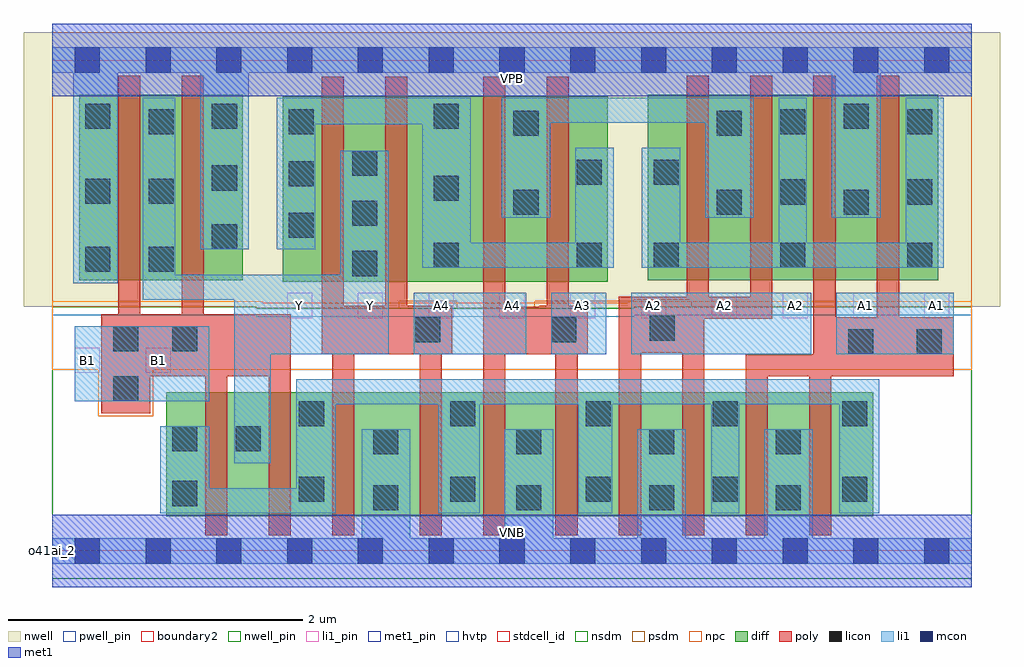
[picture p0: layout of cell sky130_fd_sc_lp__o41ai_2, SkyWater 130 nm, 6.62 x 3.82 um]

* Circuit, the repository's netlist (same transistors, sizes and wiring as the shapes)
* Copyright 2020 The SkyWater PDK Authors
*
* Licensed under the Apache License, Version 2.0 (the "License");
* you may not use this file except in compliance with the License.
* You may obtain a copy of the License at
*
*     https://www.apache.org/licenses/LICENSE-2.0
*
* Unless required by applicable law or agreed to in writing, software
* distributed under the License is distributed on an "AS IS" BASIS,
* WITHOUT WARRANTIES OR CONDITIONS OF ANY KIND, either express or implied.
* See the License for the specific language governing permissions and
* limitations under the License.
*
* SPDX-License-Identifier: Apache-2.0

.SUBCKT sky130_fd_sc_lp__o41ai_2 A1 A2 A3 A4 B1 VGND VNB VPB VPWR Y
*.PININFO A1:I A2:I A3:I A4:I B1:I VGND:I VNB:I VPB:I VPWR:I Y:O
MMPA0 VPWR A1 sndA1 VPB sky130_fd_pr__pfet_01v8_hvt m=2 w=1.26U l=0.15U mult=1
+ sa=0.265 sb=0.265 sd=0.28 area=0.063 perim=1.14
MMPA1 sndA1 A2 sndA2 VPB sky130_fd_pr__pfet_01v8_hvt m=2 w=1.26U l=0.15U mult=1
+ sa=0.265 sb=0.265 sd=0.28 area=0.063 perim=1.14
MMPA2 sndA2 A3 sndA3 VPB sky130_fd_pr__pfet_01v8_hvt m=2 w=1.26U l=0.15U mult=1
+ sa=0.265 sb=0.265 sd=0.28 area=0.063 perim=1.14
MMPA3 sndA3 A4 Y VPB sky130_fd_pr__pfet_01v8_hvt m=2 w=1.26U l=0.15U mult=1 sa=0.265
+ sb=0.265 sd=0.28 area=0.063 perim=1.14
MMPB0 VPWR B1 Y VPB sky130_fd_pr__pfet_01v8_hvt m=2 w=1.26U l=0.15U mult=1 sa=0.265
+ sb=0.265 sd=0.28 area=0.063 perim=1.14
MMNA0 pndA A1 VGND VNB sky130_fd_pr__nfet_01v8 m=2 w=0.84U l=0.15U mult=1 sa=0.265
+ sb=0.265 sd=0.28 area=0.063 perim=1.14
MMNA1 pndA A2 VGND VNB sky130_fd_pr__nfet_01v8 m=2 w=0.84U l=0.15U mult=1 sa=0.265
+ sb=0.265 sd=0.28 area=0.063 perim=1.14
MMNA2 pndA A3 VGND VNB sky130_fd_pr__nfet_01v8 m=2 w=0.84U l=0.15U mult=1 sa=0.265
+ sb=0.265 sd=0.28 area=0.063 perim=1.14
MMNA3 pndA A4 VGND VNB sky130_fd_pr__nfet_01v8 m=2 w=0.84U l=0.15U mult=1 sa=0.265
+ sb=0.265 sd=0.28 area=0.063 perim=1.14
MMNB0 Y B1 pndA VNB sky130_fd_pr__nfet_01v8 m=2 w=0.84U l=0.15U mult=1 sa=0.265
+ sb=0.265 sd=0.28 area=0.063 perim=1.14
.ENDS sky130_fd_sc_lp__o41ai_2

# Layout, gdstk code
import gdstk
lib = gdstk.Library(unit=1e-6, precision=1e-09)
def R(c, l, rs):  # rectangles x0, y0, x1, y1
    for r in rs: c.add(gdstk.rectangle(r[:2], r[2:], *l))
def A(c, l, x, y, w, h, nx, ny, dx, dy):  # array of equal rectangles
    R(c, l, [(x+i*dx, y+j*dy, x+i*dx+w, y+j*dy+h) for i in range(nx) for j in range(ny)])
def P(c, l, *ps):  # polygons
    for p in ps: c.add(gdstk.Polygon(p, *l))
nwell_pin = (64, 16)
nwell = (64, 20)
diff = (65, 20)
poly = (66, 20)
licon = (66, 44)
li1_pin = (67, 16)
li1 = (67, 20)
mcon = (67, 44)
met1_pin = (68, 16)
met1 = (68, 20)
hvtp = (78, 44)
stdcell_id = (81, 4)
nsdm = (93, 44)
psdm = (94, 20)
npc = (95, 20)
pwell_pin = (122, 16)
boundary2 = (236, 0)

sky130_fd_sc_lp__o41ai_2 = lib.new_cell('sky130_fd_sc_lp__o41ai_2')
R(sky130_fd_sc_lp__o41ai_2, nwell_pin, [(0,3.085,6.24,3.33)])
P(sky130_fd_sc_lp__o41ai_2, nwell, [(6.43,3.52),(-0.19,3.52),(-0.19,1.655),(1.385,1.655),(1.385,1.645),(3.95,1.645),(3.95,1.655),(6.43,1.655)])
R(sky130_fd_sc_lp__o41ai_2, diff, [(0.775,0.235,5.57,1.075), (1.565,1.825,3.77,3.085), (0.185,1.835,1.295,3.095), (4.04,1.835,6.01,3.095)])
P(sky130_fd_sc_lp__o41ai_2, poly, [(1.62,1.605),(1.03,1.605),(1.03,3.225),(0.88,3.225),(0.88,1.605),(0.6,1.605),(0.6,3.225),(0.45,3.225),(0.45,1.605),(0.335,1.605),(0.335,0.935),(0.665,0.935),(0.665,1.185),(1.04,1.185),(1.04,0.105),(1.19,0.105),(1.19,1.185),(1.47,1.185),(1.47,0.105),(1.62,0.105)],
  [(2.715,1.665),(2.41,1.665),(2.41,3.215),(2.26,3.215),(2.26,1.665),(1.98,1.665),(1.98,3.215),(1.83,3.215),(1.83,1.335),(1.9,1.335),(1.9,0.105),(2.05,0.105),(2.05,1.335),(2.495,1.335),(2.495,0.105),(2.645,0.105),(2.645,1.335),(2.715,1.335)],
  [(3.635,1.665),(3.505,1.665),(3.505,3.215),(3.355,3.215),(3.355,1.665),(3.305,1.665),(3.305,1.655),(3.075,1.655),(3.075,3.215),(2.925,3.215),(2.925,0.105),(3.075,0.105),(3.075,1.335),(3.415,1.335),(3.415,0.105),(3.565,0.105),(3.565,1.335),(3.635,1.335)],
  [(4.885,3.225),(4.735,3.225),(4.735,1.725),(4.455,1.725),(4.455,3.225),(4.305,3.225),(4.305,1.725),(3.845,1.725),(3.845,0.105),(3.995,0.105),(3.995,1.345),(4.275,1.345),(4.275,0.105),(4.425,0.105),(4.425,1.575),(4.885,1.575)],
  [(6.115,1.585),(5.745,1.585),(5.745,3.225),(5.595,3.225),(5.595,1.585),(5.315,1.585),(5.315,3.225),(5.165,3.225),(5.165,1.335),(4.705,1.335),(4.705,0.105),(4.855,0.105),(4.855,1.185),(5.135,1.185),(5.135,0.105),(5.285,0.105),(5.285,1.185),(6.115,1.185)])
A(sky130_fd_sc_lp__o41ai_2, licon, 2.035, 1.865, 0.17, 0.17, 1, 3, 0, 0.34)
A(sky130_fd_sc_lp__o41ai_2, licon, 4.08, 1.92, 0.17, 0.17, 3, 1, 0.86, 0)
A(sky130_fd_sc_lp__o41ai_2, licon, 1.605, 2.125, 0.17, 0.17, 1, 3, 0, 0.35)
R(sky130_fd_sc_lp__o41ai_2, licon, [(2.18,0.275,2.35,0.445), (3.15,0.275,3.32,0.445), (4.05,0.275,4.22,0.445), (4.91,0.275,5.08,0.445), (0.815,0.305,0.985,0.475), (1.675,0.335,1.845,0.505), (2.7,0.335,2.87,0.505), (3.62,0.335,3.79,0.505), (4.48,0.335,4.65,0.505), (5.36,0.335,5.53,0.505), (2.18,0.655,2.35,0.825), (3.15,0.655,3.32,0.825), (4.05,0.655,4.22,0.825), (4.91,0.655,5.08,0.825), (0.815,0.675,0.985,0.845), (1.245,0.675,1.415,0.845), (1.675,0.845,1.845,1.015), (2.7,0.845,2.87,1.015), (3.62,0.845,3.79,1.015), (4.48,0.845,4.65,1.015), (5.36,0.845,5.53,1.015), (0.415,1.015,0.585,1.185), (5.4,1.335,5.57,1.505), (5.865,1.335,6.035,1.505), (0.415,1.355,0.585,1.525), (0.815,1.355,0.985,1.525), (2.465,1.415,2.635,1.585), (3.385,1.415,3.555,1.585), (4.055,1.425,4.225,1.595), (0.225,1.895,0.395,2.065), (0.655,1.895,0.825,2.065), (2.59,1.92,2.76,2.09), (3.56,1.92,3.73,2.09), (1.085,2.045,1.255,2.215), (3.13,2.28,3.3,2.45), (4.51,2.28,4.68,2.45), (5.37,2.28,5.54,2.45), (4.94,2.35,5.11,2.52), (5.8,2.35,5.97,2.52), (0.225,2.355,0.395,2.525), (0.655,2.355,0.825,2.525), (2.59,2.375,2.76,2.545), (1.085,2.445,1.255,2.615), (3.56,2.485,3.73,2.655), (4.08,2.485,4.25,2.655), (3.13,2.815,3.3,2.985), (4.51,2.815,4.68,2.985), (0.655,2.825,0.825,2.995), (4.94,2.825,5.11,2.995), (5.8,2.825,5.97,2.995), (0.225,2.865,0.395,3.035), (1.085,2.865,1.255,3.035), (2.59,2.865,2.76,3.035), (5.37,2.865,5.54,3.035)])
A(sky130_fd_sc_lp__o41ai_2, li1_pin, 1.595, 1.58, 0.17, 0.17, 10, 1, 0.48, 0)
R(sky130_fd_sc_lp__o41ai_2, li1_pin, [(0.155,1.21,0.325,1.38), (0.635,1.21,0.805,1.38)])
R(sky130_fd_sc_lp__o41ai_2, li1, [(0.155,1.015,1.065,1.525), (2.455,1.335,3.215,1.75), (3.385,1.335,3.76,1.75), (3.93,1.335,5.15,1.75), (5.32,1.335,6.115,1.75)])
P(sky130_fd_sc_lp__o41ai_2, li1, [(1.005,2.045),(1.005,3.245),(0.445,3.245),(0.445,1.815),(0.145,1.815),(0.145,3.245),(0,3.245),(0,3.415),(6.24,3.415),(6.24,3.245),(5.62,3.245),(5.62,2.26),(5.29,2.26),(5.29,3.245),(1.335,3.245),(1.335,2.045)],
  [(3.07,0.085),(3.07,0.825),(3.4,0.825),(3.4,0.085),(3.97,0.085),(3.97,0.825),(4.3,0.825),(4.3,0.085),(4.83,0.085),(4.83,0.825),(5.16,0.825),(5.16,0.085),(6.24,0.085),(6.24,-0.085),(0,-0.085),(0,0.085),(2.1,0.085),(2.1,0.825),(2.43,0.825),(2.43,0.085)],
  [(5.12,2.09),(5.79,2.09),(5.79,3.075),(6.05,3.075),(6.05,1.92),(4,1.92),(4,2.735),(4.26,2.735),(4.26,2.09),(4.93,2.09),(4.93,3.075),(5.12,3.075)],
  [(4.43,2.905),(3.38,2.905),(3.38,2.26),(3.05,2.26),(3.05,3.075),(4.76,3.075),(4.76,2.26),(4.43,2.26)],
  [(2.84,2.09),(3.55,2.09),(3.55,2.735),(3.81,2.735),(3.81,1.92),(2.51,1.92),(2.51,2.895),(1.785,2.895),(1.785,2.045),(1.525,2.045),(1.525,3.075),(2.84,3.075)],
  [(0.835,1.875),(1.955,1.875),(1.955,2.715),(2.285,2.715),(2.285,1.335),(1.485,1.335),(1.485,0.595),(1.235,0.595),(1.235,1.705),(0.615,1.705),(0.615,3.075),(0.835,3.075)],
  [(5.34,0.995),(4.66,0.995),(4.66,0.255),(4.47,0.255),(4.47,0.995),(3.8,0.995),(3.8,0.255),(3.57,0.255),(3.57,0.995),(2.9,0.995),(2.9,0.255),(2.62,0.255),(2.62,0.995),(1.925,0.995),(1.925,0.255),(0.735,0.255),(0.735,0.845),(1.065,0.845),(1.065,0.425),(1.655,0.425),(1.655,1.165),(5.61,1.165),(5.61,0.255),(5.34,0.255)])
A(sky130_fd_sc_lp__o41ai_2, mcon, 0.155, -0.085, 0.17, 0.17, 13, 2, 0.48, 3.33)
R(sky130_fd_sc_lp__o41ai_2, met1_pin, [(0,0,6.24,0.245), (0,3.085,6.24,3.33)])
R(sky130_fd_sc_lp__o41ai_2, met1, [(0,-0.245,6.24,0.245), (0,3.085,6.24,3.575)])
P(sky130_fd_sc_lp__o41ai_2, hvtp, [(6.24,3.33),(0,3.33),(0,1.6),(1.385,1.6),(1.385,1.59),(3.95,1.59),(3.95,1.6),(6.24,1.6)])
R(sky130_fd_sc_lp__o41ai_2, stdcell_id, [(0,0,6.24,3.33)])
P(sky130_fd_sc_lp__o41ai_2, nsdm, [(6.24,1.655),(3.95,1.655),(3.95,1.645),(1.385,1.645),(1.385,1.655),(0,1.655),(0,-0.19),(6.24,-0.19)])
P(sky130_fd_sc_lp__o41ai_2, psdm, [(6.24,3.52),(0,3.52),(0,1.655),(1.385,1.655),(1.385,1.645),(2.355,1.645),(2.355,1.695),(2.745,1.695),(2.745,1.645),(3.275,1.645),(3.275,1.695),(3.945,1.695),(3.945,1.705),(4.335,1.705),(4.335,1.655),(6.24,1.655)])
P(sky130_fd_sc_lp__o41ai_2, npc, [(6.24,1.695),(3.91,1.695),(3.91,1.685),(1.425,1.685),(1.425,1.695),(0,1.695),(0,1.23),(0.315,1.23),(0.315,0.915),(0.685,0.915),(0.685,1.23),(6.24,1.23)])
R(sky130_fd_sc_lp__o41ai_2, pwell_pin, [(0,0,6.24,0.245)])
R(sky130_fd_sc_lp__o41ai_2, boundary2, [(0,0,6.24,3.33)])
sky130_fd_sc_lp__o41ai_2.add(gdstk.Label('VNB', (3.12,0.123), layer=64, texttype=59))
sky130_fd_sc_lp__o41ai_2.add(gdstk.Label('VPB', (3.12,3.208), layer=64, texttype=5))
sky130_fd_sc_lp__o41ai_2.add(gdstk.Label('o41ai_2', (0,0), layer=83, texttype=44))
sky130_fd_sc_lp__o41ai_2.add(gdstk.Label('VPWR', (3.12,3.208), layer=68, texttype=5))
sky130_fd_sc_lp__o41ai_2.add(gdstk.Label('VGND', (3.12,0.123), layer=68, texttype=5))
sky130_fd_sc_lp__o41ai_2.add(gdstk.Label('A1', (6,1.665), layer=67, texttype=5))
sky130_fd_sc_lp__o41ai_2.add(gdstk.Label('A2', (4.08,1.665), layer=67, texttype=5))
sky130_fd_sc_lp__o41ai_2.add(gdstk.Label('A2', (4.56,1.665), layer=67, texttype=5))
sky130_fd_sc_lp__o41ai_2.add(gdstk.Label('A2', (5.04,1.665), layer=67, texttype=5))
sky130_fd_sc_lp__o41ai_2.add(gdstk.Label('A3', (3.6,1.665), layer=67, texttype=5))
sky130_fd_sc_lp__o41ai_2.add(gdstk.Label('A4', (2.64,1.665), layer=67, texttype=5))
sky130_fd_sc_lp__o41ai_2.add(gdstk.Label('A4', (3.12,1.665), layer=67, texttype=5))
sky130_fd_sc_lp__o41ai_2.add(gdstk.Label('B1', (0.24,1.295), layer=67, texttype=5))
sky130_fd_sc_lp__o41ai_2.add(gdstk.Label('B1', (0.72,1.295), layer=67, texttype=5))
sky130_fd_sc_lp__o41ai_2.add(gdstk.Label('Y', (1.68,1.665), layer=67, texttype=5))
sky130_fd_sc_lp__o41ai_2.add(gdstk.Label('Y', (2.16,1.665), layer=67, texttype=5))
sky130_fd_sc_lp__o41ai_2.add(gdstk.Label('A1', (5.52,1.665), layer=67, texttype=5))

lib.write_gds('sky130_fd_sc_lp__o41ai_2.gds')
